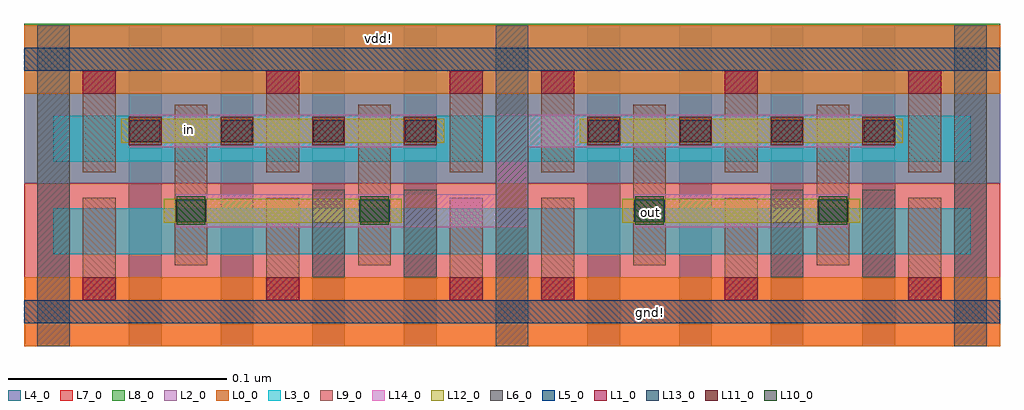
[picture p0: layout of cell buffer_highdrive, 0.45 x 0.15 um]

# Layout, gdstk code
from math import pi, radians
import gdstk
lib = gdstk.Library(unit=1e-6, precision=5e-10)
def R(c, l, rs):  # rectangles x0, y0, x1, y1
    for r in rs: c.add(gdstk.rectangle(r[:2], r[2:], *l))
def A(c, l, x, y, w, h, nx, ny, dx, dy):  # array of equal rectangles
    R(c, l, [(x+i*dx, y+j*dy, x+i*dx+w, y+j*dy+h) for i in range(nx) for j in range(ny)])
L0_0 = (0, 0)
L1_0 = (1, 0)
L2_0 = (2, 0)
L3_0 = (3, 0)
L4_0 = (4, 0)
L5_0 = (5, 0)
L6_0 = (6, 0)
L7_0 = (7, 0)
L8_0 = (8, 0)
L9_0 = (9, 0)
L10_0 = (10, 0)
L11_0 = (11, 0)
L12_0 = (12, 0)
L13_0 = (13, 0)
L14_0 = (14, 0)

bpr_m0a = lib.new_cell('BPR_M0A')
R(bpr_m0a, L0_0, [(-0.021,-0.0055,0.021,0.026)])
R(bpr_m0a, L1_0, [(-0.0075,-0.0055,0.0075,0.005)])
R(bpr_m0a, L9_0, [(-0.0075,-0.0165,0.0075,0.005)])

gate_m0b = lib.new_cell('GATE_M0B')
R(gate_m0b, L4_0, [(-0.0075,-0.0115,0.0075,0.0115)])
R(gate_m0b, L11_0, [(-0.0075,-0.0065,0.0075,0.0065)])
R(gate_m0b, L12_0, [(-0.011,-0.0055,0.011,0.0055)])

m0a_m0b = lib.new_cell('M0A_M0B')
R(m0a_m0b, L9_0, [(-0.0075,-0.0055,0.0075,0.0055)])
R(m0a_m0b, L10_0, [(-0.0065,-0.0065,0.0065,0.0065)])
R(m0a_m0b, L12_0, [(-0.0125,-0.0055,0.0125,0.0055)])

nmos = lib.new_cell('nmos')
R(nmos, L3_0, [(-0.042,-0.0105,0.042,0.0105)])
A(nmos, L4_0, -0.0495, -0.032, 0.015, 0.064, 3, 1, 0.042, 0)
R(nmos, L7_0, [(-0.0555,-0.021,0.0555,0.0205)])
R(nmos, L9_0, [(-0.0285,-0.0155,-0.0135,0.0155), (0.0135,-0.0155,0.0285,0.0155)])

pmos = lib.new_cell('pmos')
R(pmos, L2_0, [(-0.042,-0.0205,0.042,0.0205)])
R(pmos, L3_0, [(-0.042,-0.0105,0.042,0.0105)])
A(pmos, L4_0, -0.0495, -0.032, 0.015, 0.064, 3, 1, 0.042, 0)
R(pmos, L8_0, [(-0.0555,-0.0205,0.0555,0.0205)])
R(pmos, L9_0, [(-0.0285,-0.0155,-0.0135,0.0155), (0.0135,-0.0155,0.0285,0.0155)])

m0b_m1 = lib.new_cell('M0B_M1')
R(m0b_m1, L12_0, [(-0.011,-0.005,0.011,0.005)])
R(m0b_m1, L13_0, [(-0.007,-0.005,0.007,0.005)])
R(m0b_m1, L14_0, [(-0.007,-0.0075,0.007,0.0075)])

invx4 = lib.new_cell('invx4')
R(invx4, L0_0, [(0.006,0,0.243,0.0315), (0.033,0.0045,0.0535,0.0175), (0.006,0.1155,0.243,0.147), (0.194,0.131,0.215,0.143)])
R(invx4, L2_0, [(0.006,0.0745,0.243,0.147)])
A(invx4, L4_0, 0.012, 0, 0.015, 0.147, 6, 1, 0.042, 0)
R(invx4, L5_0, [(0.006,0.0105,0.243,0.021), (0.006,0.126,0.243,0.1365)])
R(invx4, L6_0, [(0.012,0,0.027,0.147), (0.222,0,0.237,0.147), (0.138,0.0315,0.153,0.0715), (0.18,0.0315,0.195,0.0715)])
R(invx4, L7_0, [(0.006,0,0.243,0.0745)])
R(invx4, L8_0, [(0.006,0.075,0.243,0.1475)])
R(invx4, L9_0, [(0.075,0.06,0.09,0.0795), (0.159,0.06,0.174,0.08)])
R(invx4, L12_0, [(0.07,0.0565,0.179,0.0675), (0.0505,0.093,0.1985,0.104)])
R(invx4, L14_0, [(0.0755,0.0545,0.1735,0.0695), (0.0795,0.058,0.0865,0.0645), (0.0545,0.091,0.1945,0.106), (0.079,0.0965,0.0855,0.1015)])
invx4.add(gdstk.Reference(bpr_m0a, (0.2085,0.121)))
invx4.add(gdstk.Reference(bpr_m0a, (0.1245,0.026), rotation=pi))
invx4.add(gdstk.Reference(bpr_m0a, (0.2085,0.026), rotation=pi))
invx4.add(gdstk.Reference(bpr_m0a, (0.0405,0.026), rotation=pi))
invx4.add(gdstk.Reference(bpr_m0a, (0.1245,0.121)))
invx4.add(gdstk.Reference(bpr_m0a, (0.0405,0.121)))
invx4.add(gdstk.Reference(gate_m0b, (0.0615,0.0985)))
invx4.add(gdstk.Reference(gate_m0b, (0.1035,0.0985)))
invx4.add(gdstk.Reference(gate_m0b, (0.1455,0.0985)))
invx4.add(gdstk.Reference(gate_m0b, (0.1875,0.0985)))
invx4.add(gdstk.Reference(m0a_m0b, (0.0825,0.062)))
invx4.add(gdstk.Reference(m0a_m0b, (0.1665,0.062)))
invx4.add(gdstk.Reference(nmos, (0.1875,0.0525)))
invx4.add(gdstk.Reference(nmos, (0.1455,0.0525)))
invx4.add(gdstk.Reference(nmos, (0.0615,0.0525)))
invx4.add(gdstk.Reference(nmos, (0.1035,0.0525)))
invx4.add(gdstk.Reference(pmos, (0.1875,0.095)))
invx4.add(gdstk.Reference(pmos, (0.1455,0.095)))
invx4.add(gdstk.Reference(pmos, (0.1035,0.095)))
invx4.add(gdstk.Reference(pmos, (0.0615,0.095)))
invx4.add(gdstk.Reference(m0b_m1, (0.0615,0.0985)))
invx4.add(gdstk.Reference(m0b_m1, (0.1035,0.0985)))
invx4.add(gdstk.Reference(m0b_m1, (0.1455,0.0985)))
invx4.add(gdstk.Reference(m0b_m1, (0.1875,0.0985)))
invx4.add(gdstk.Reference(m0b_m1, (0.0825,0.062)))
invx4.add(gdstk.Reference(m0b_m1, (0.1665,0.062)))
invx4.add(gdstk.Label('vdd!', (0.2045,0.137), layer=0, texttype=0))
invx4.add(gdstk.Label('gnd!', (0.043,0.011), layer=0, texttype=0))
invx4.add(gdstk.Label('in', (0.082,0.099), layer=14, texttype=0))
invx4.add(gdstk.Label('out', (0.083,0.061), layer=14, texttype=0))

buffer_highdrive = lib.new_cell('buffer_highdrive')
R(buffer_highdrive, L0_0, [(0.2825,0.012,0.293,0.018), (0.159,0.138,0.1675,0.143)])
R(buffer_highdrive, L14_0, [(0.168,0.054,0.2315,0.069), (0.2165,0.054,0.2315,0.1055), (0.284,0.0575,0.291,0.064), (0.2165,0.0905,0.259,0.1055), (0.0735,0.096,0.08,0.101)])
buffer_highdrive.add(gdstk.Reference(invx4, (-0.0055,-0.0005)))
buffer_highdrive.add(gdstk.Reference(invx4, (0.2045,-0.0005)))
buffer_highdrive.add(gdstk.Label('out', (0.2875,0.0605), layer=0, texttype=0))
buffer_highdrive.add(gdstk.Label('in', (0.0765,0.0985), layer=0, texttype=0))
buffer_highdrive.add(gdstk.Label('vdd!', (0.163,0.1405), layer=0, texttype=0))
buffer_highdrive.add(gdstk.Label('gnd!', (0.2875,0.015), layer=0, texttype=0))

lib.write_gds('buffer_highdrive.gds')
